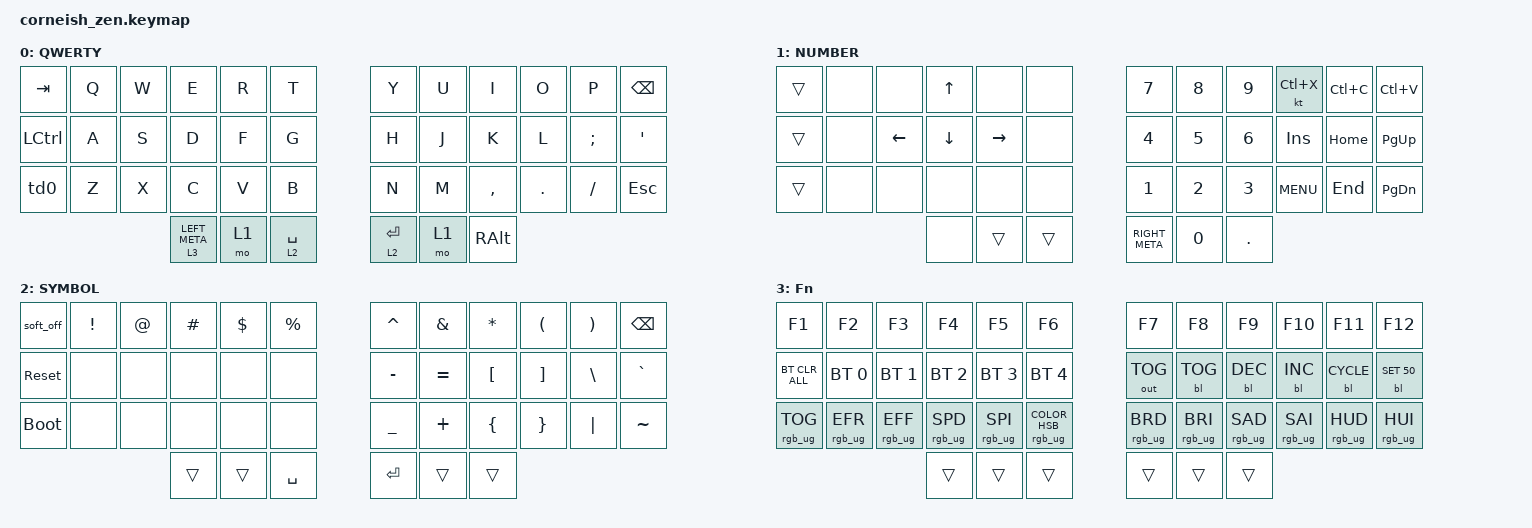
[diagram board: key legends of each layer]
/*
 * Copyright (c) 2020 The ZMK Contributors
 *
 * SPDX-License-Identifier: MIT
 */

#include <behaviors.dtsi>
#include <dt-bindings/zmk/backlight.h>
#include <dt-bindings/zmk/bt.h>
#include <dt-bindings/zmk/keys.h>
#include <dt-bindings/zmk/keys.h>
#include <dt-bindings/zmk/outputs.h>
#include <dt-bindings/zmk/rgb.h>

/ {
    chosen {
        zmk,matrix_transform = &default_transform;

        // zmk,matrix_transform = &five_column_transform;
    };
};

/ {
    behaviors {
        td0: td0 {
            compatible = "zmk,behavior-tap-dance";
            label = "TD0";
            #binding-cells = <0>;
            bindings = <&kp LEFT_SHIFT>, <&kp CAPS>;
        };
    };

    keymap {
        compatible = "zmk,keymap";

        default_layer {
            display-name = "QWERTY";

            // --------------------------------------------------------------------------------
            // |  TAB |  Q  |  W  |  E  |  R  |  T  |   |  Y  |  U   |  I  |  O  |  P  | BKSP |
            // | CTRL |  A  |  S  |  D  |  F  |  G  |   |  H  |  J   |  K  |  L  |  ;  |  '   | 
            // | SHFT |  Z  |  X  |  C  |  V  |  B  |   |  N  |  M   |  ,  |  .  |  /  | ESC  |
            //                    | GUI | LWR | SPC |   | ENT | RSE  | ALT |

            bindings = <
&kp TAB    &kp Q  &kp W  &kp E            &kp R  &kp T          &kp Y        &kp U  &kp I      &kp O    &kp P     &kp BSPC
&kp LCTRL  &kp A  &kp S  &kp D            &kp F  &kp G          &kp H        &kp J  &kp K      &kp L    &kp SEMI  &kp SQT
&td0       &kp Z  &kp X  &kp C            &kp V  &kp B          &kp N        &kp M  &kp COMMA  &kp DOT  &kp FSLH  &kp ESC
                         &lt 3 LEFT_META  &mo 1  &lt 2 SPACE    &lt 2 ENTER  &mo 1  &kp RALT
            >;
        };

        lower_layer {
            display-name = "NUMBER";

            // -----------------------------------------------------------------------------------------
            // |  TAB |  1  |  2  |  3  |  4  |  5  |   |  6  |  7  |  8  |  9  |  0  | BKSP |
            // | BTCLR| BT1 | BT2 | BT3 | BT4 | BT5 |   | LFT | DWN |  UP | RGT |     |      |
            // | SHFT |     |     |     |     |     |   |     |     |     |     |     |      |
            //                    | GUI |     | SPC |   | ENT |     | ALT |

            bindings = <
&trans  &none  &none     &kp UP    &none      &none     &kp NUMBER_7    &kp NUMBER_8  &kp NUMBER_9  &kt LC(X)   &kp LC(C)  &kp LC(V)
&trans  &none  &kp LEFT  &kp DOWN  &kp RIGHT  &none     &kp NUMBER_4    &kp NUMBER_5  &kp NUMBER_6  &kp INS     &kp HOME   &kp PG_UP
&trans  &none  &none     &none     &none      &none     &kp NUMBER_1    &kp NUMBER_2  &kp NUMBER_3  &kp K_MENU  &kp END    &kp PG_DN
                         &none     &trans     &trans    &kp RIGHT_META  &kp N0        &kp DOT
            >;
        };

        raise_layer {
            display-name = "SYMBOL";

            // -----------------------------------------------------------------------------------------
            // |  TAB |  !  |  @  |  #  |  $  |  %  |   |  ^  |  &  |  *  |  (  |  )  | BKSP |
            // | CTRL |     |     |     |     |     |   |  -  |  =  |  [  |  ]  |  \  |  `   |
            // | SHFT |     |     |     |     |     |   |  _  |  +  |  {  |  }  | "|" |  ~   |
            //                    | GUI |     | SPC |   | ENT |     | ALT |

            bindings = <
&soft_off    &kp EXCL  &kp AT  &kp HASH  &kp DLLR  &kp PRCNT    &kp CARET  &kp AMPS   &kp ASTRK  &kp LPAR  &kp RPAR  &kp BSPC
&sys_reset   &none     &none   &none     &none     &none        &kp MINUS  &kp EQUAL  &kp LBKT   &kp RBKT  &kp BSLH  &kp GRAVE
&bootloader  &none     &none   &none     &none     &none        &kp UNDER  &kp PLUS   &kp LBRC   &kp RBRC  &kp PIPE  &kp TILDE
                               &trans    &trans    &kp SPACE    &kp RET    &trans     &trans
            >;
        };

        layer_3 {
            display-name = "Fn";
            bindings = <
&kp F1           &kp F2           &kp F3           &kp F4           &kp F5           &kp F6                              &kp F7           &kp F8           &kp F9           &kp F10          &kp F11          &kp F12
&bt BT_CLR_ALL   &bt BT_SEL 0     &bt BT_SEL 1     &bt BT_SEL 2     &bt BT_SEL 3     &bt BT_SEL 4                        &out OUT_TOG     &bl BL_TOG       &bl BL_DEC       &bl BL_INC       &bl BL_CYCLE     &bl BL_SET 50
&rgb_ug RGB_TOG  &rgb_ug RGB_EFR  &rgb_ug RGB_EFF  &rgb_ug RGB_SPD  &rgb_ug RGB_SPI  &rgb_ug RGB_COLOR_HSB(202,0,100)    &rgb_ug RGB_BRD  &rgb_ug RGB_BRI  &rgb_ug RGB_SAD  &rgb_ug RGB_SAI  &rgb_ug RGB_HUD  &rgb_ug RGB_HUI
                                                   &trans           &trans           &trans                              &trans           &trans           &trans
            >;
        };
    };
};
